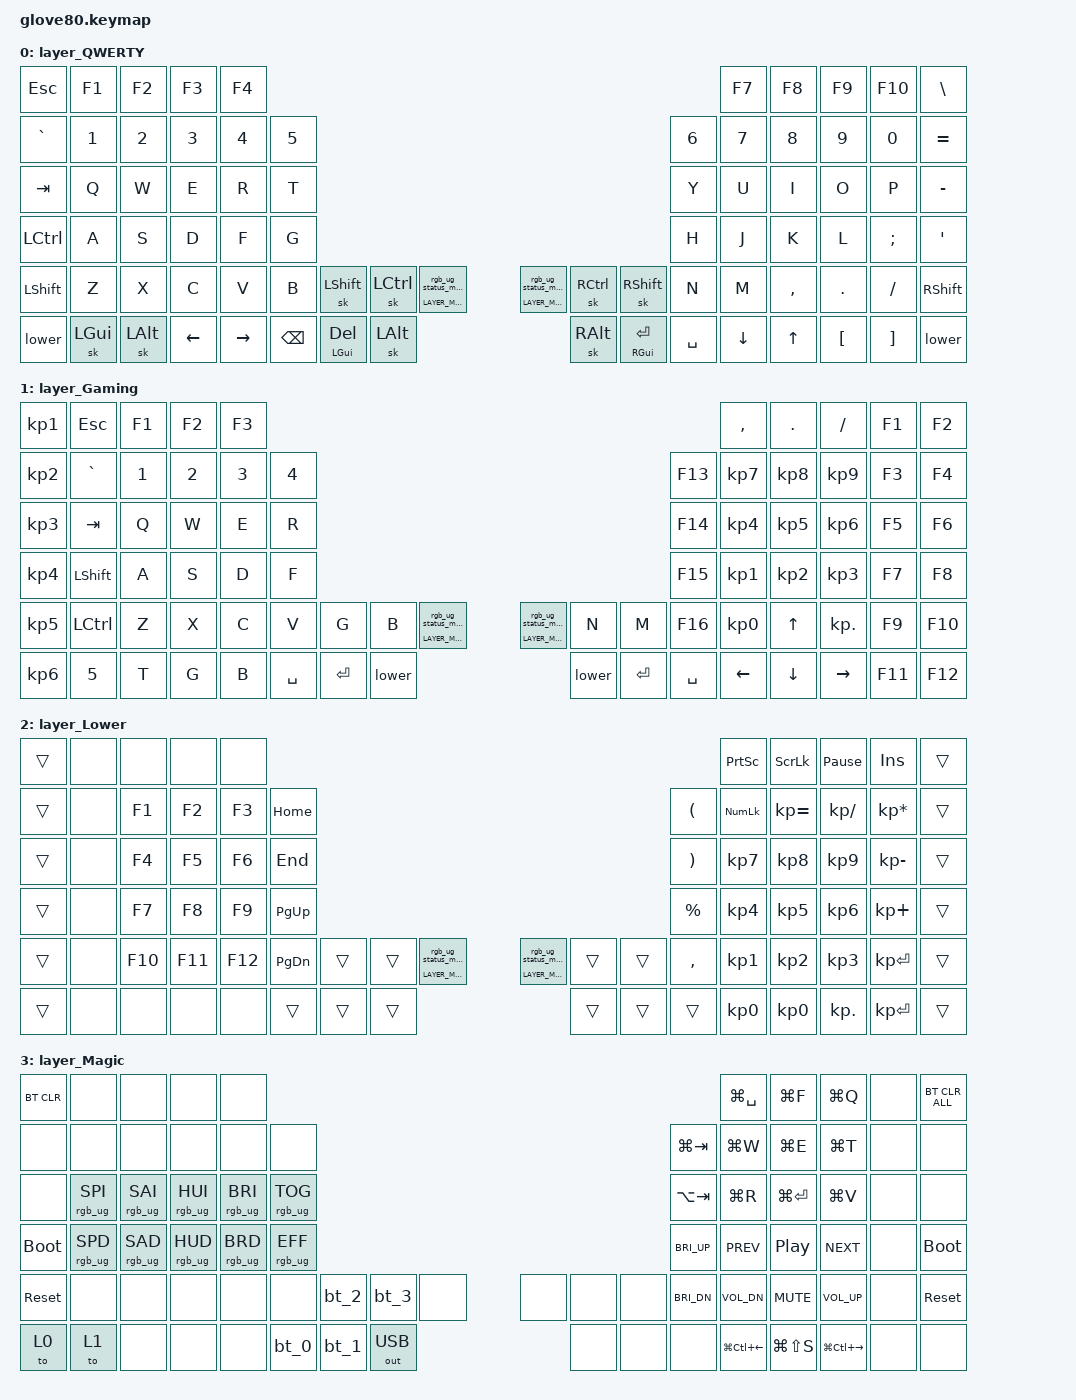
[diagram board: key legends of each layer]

/*
 * Copyright (c) 2020 The ZMK Contributors
 * Copyright (c) 2023 Innaworks Development Limited, trading as MoErgo
 *
 * SPDX-License-Identifier: MIT
 */


/* THIS FILE WAS GENERATED BY GLOVE80 LAYOUT EDITOR
 *
 * This file was generated automatically. You may or may not want to
 * edit it directly.
 */

#include <behaviors.dtsi>
/* Include all behaviour includes needed */
#include <dt-bindings/zmk/outputs.h>
#include <dt-bindings/zmk/keys.h>
#include <dt-bindings/zmk/bt.h>
#include <dt-bindings/zmk/rgb.h>

/* Automatically generated layer name #define */
#define LAYER_QWERTY 0
#define LAYER_Gaming 1
#define LAYER_Lower 2
#define LAYER_Magic 3

/* To deal with the situation where there is no Lower layer, to keep &lower happy */
#ifndef LAYER_Lower
#define LAYER_Lower 0
#endif

/* Custom Device-tree */



/* Glove80 system behavior & macros */
/ {
    behaviors {
        // For the "layer" key, it'd nice to be able to use it as either a shift or a toggle.
        // Configure it as a tap dance, so the first tap (or hold) is a &mo and the second tap is a &to
        lower: lower {
            compatible = "zmk,behavior-tap-dance";
            label = "LAYER_TAP_DANCE";
            #binding-cells = <0>;
            tapping-term-ms = <200>;
            bindings = <&mo LAYER_Lower>, <&to LAYER_Lower>;
        };
    };
};

/ {
    macros {
        rgb_ug_status_macro: rgb_ug_status_macro {
            label = "RGB_UG_STATUS";
            compatible = "zmk,behavior-macro";
            #binding-cells = <0>;
            bindings
                = <&rgb_ug RGB_STATUS>;
        };
    };
};


/ {
#ifdef BT_DISC_CMD
    behaviors {
        bt_0: bt_0 {
            compatible = "zmk,behavior-tap-dance";
            label = "BT_0";
            #binding-cells = <0>;
            tapping-term-ms = <200>;
            bindings = <&bt_select_0>, <&bt BT_DISC 0>;
        };
        bt_1: bt_1 {
            compatible = "zmk,behavior-tap-dance";
            label = "BT_1";
            #binding-cells = <0>;
            tapping-term-ms = <200>;
            bindings = <&bt_select_1>, <&bt BT_DISC 1>;
        };
        bt_2: bt_2 {
            compatible = "zmk,behavior-tap-dance";
            label = "BT_2";
            #binding-cells = <0>;
            tapping-term-ms = <200>;
            bindings = <&bt_select_2>, <&bt BT_DISC 2>;
        };
        bt_3: bt_3 {
            compatible = "zmk,behavior-tap-dance";
            label = "BT_3";
            #binding-cells = <0>;
            tapping-term-ms = <200>;
            bindings = <&bt_select_3>, <&bt BT_DISC 3>;
        };
    };
    macros {
        bt_select_0: bt_select_0 {
            label = "BT_SELECT_0";
            compatible = "zmk,behavior-macro";
            #binding-cells = <0>;
            bindings
                = <&out OUT_BLE>,
                  <&bt BT_SEL 0>;
        };
        bt_select_1: bt_select_1 {
            label = "BT_SELECT_1";
            compatible = "zmk,behavior-macro";
            #binding-cells = <0>;
            bindings
                = <&out OUT_BLE>,
                  <&bt BT_SEL 1>;
        };
        bt_select_2: bt_select_2 {
            label = "BT_SELECT_2";
            compatible = "zmk,behavior-macro";
            #binding-cells = <0>;
            bindings
                = <&out OUT_BLE>,
                  <&bt BT_SEL 2>;
        };
        bt_select_3: bt_select_3 {
            label = "BT_SELECT_3";
            compatible = "zmk,behavior-macro";
            #binding-cells = <0>;
            bindings
                = <&out OUT_BLE>,
                  <&bt BT_SEL 3>;
        };
    };
#else
    macros {
        bt_0: bt_0 {
            label = "BT_0";
            compatible = "zmk,behavior-macro";
            #binding-cells = <0>;
            bindings
                = <&out OUT_BLE>,
                  <&bt BT_SEL 0>;
        };
        bt_1: bt_1 {
            label = "BT_1";
            compatible = "zmk,behavior-macro";
            #binding-cells = <0>;
            bindings
                = <&out OUT_BLE>,
                  <&bt BT_SEL 1>;
        };
        bt_2: bt_2 {
            label = "BT_2";
            compatible = "zmk,behavior-macro";
            #binding-cells = <0>;
            bindings
                = <&out OUT_BLE>,
                  <&bt BT_SEL 2>;
        };
        bt_3: bt_3 {
            label = "BT_3";
            compatible = "zmk,behavior-macro";
            #binding-cells = <0>;
            bindings
                = <&out OUT_BLE>,
                  <&bt BT_SEL 3>;
        };
    };
#endif
};

/ {
    behaviors {
        magic: magic {
            compatible = "zmk,behavior-hold-tap";
            label = "MAGIC_HOLD_TAP";
            #binding-cells = <2>;
            flavor = "tap-preferred";
            tapping-term-ms = <200>;
            bindings = <&mo>, <&rgb_ug_status_macro>;
        };
    };
};

/* #define for key positions */
#define POS_LH_T1 52
#define POS_LH_T2 53
#define POS_LH_T3 54
#define POS_LH_T4 69
#define POS_LH_T5 70
#define POS_LH_T6 71
#define POS_LH_C1R2 15
#define POS_LH_C1R3 27
#define POS_LH_C1R4 39
#define POS_LH_C1R5 51
#define POS_LH_C2R1 4
#define POS_LH_C2R2 14
#define POS_LH_C2R3 26
#define POS_LH_C2R4 38
#define POS_LH_C2R5 50
#define POS_LH_C2R6 68
#define POS_LH_C3R1 3
#define POS_LH_C3R2 13
#define POS_LH_C3R3 25
#define POS_LH_C3R4 37
#define POS_LH_C3R5 49
#define POS_LH_C3R6 67
#define POS_LH_C4R1 2
#define POS_LH_C4R2 12
#define POS_LH_C4R3 24
#define POS_LH_C4R4 36
#define POS_LH_C4R5 48
#define POS_LH_C4R6 66
#define POS_LH_C5R1 1
#define POS_LH_C5R2 11
#define POS_LH_C5R3 23
#define POS_LH_C5R4 35
#define POS_LH_C5R5 47
#define POS_LH_C5R6 65
#define POS_LH_C6R1 0
#define POS_LH_C6R2 10
#define POS_LH_C6R3 22
#define POS_LH_C6R4 34
#define POS_LH_C6R5 46
#define POS_LH_C6R6 64
#define POS_RH_T1 57
#define POS_RH_T2 56
#define POS_RH_T3 55
#define POS_RH_T4 74
#define POS_RH_T5 73
#define POS_RH_T6 72
#define POS_RH_C1R2 16
#define POS_RH_C1R3 28
#define POS_RH_C1R4 40
#define POS_RH_C1R5 58
#define POS_RH_C2R1 5
#define POS_RH_C2R2 17
#define POS_RH_C2R3 29
#define POS_RH_C2R4 41
#define POS_RH_C2R5 59
#define POS_RH_C2R6 75
#define POS_RH_C3R1 6
#define POS_RH_C3R2 18
#define POS_RH_C3R3 30
#define POS_RH_C3R4 42
#define POS_RH_C3R5 60
#define POS_RH_C3R6 76
#define POS_RH_C4R1 7
#define POS_RH_C4R2 19
#define POS_RH_C4R3 31
#define POS_RH_C4R4 43
#define POS_RH_C4R5 61
#define POS_RH_C4R6 77
#define POS_RH_C5R1 8
#define POS_RH_C5R2 20
#define POS_RH_C5R3 32
#define POS_RH_C5R4 44
#define POS_RH_C5R5 62
#define POS_RH_C5R6 78
#define POS_RH_C6R1 9
#define POS_RH_C6R2 21
#define POS_RH_C6R3 33
#define POS_RH_C6R4 45
#define POS_RH_C6R5 63
#define POS_RH_C6R6 79

    /* Custom Defined Behaviors */
/ {
    
};

    /* Automatically generated keymap */
/ {
    keymap {
        compatible = "zmk,keymap";


        layer_QWERTY {
            bindings = <
   &kp ESC    &kp F1    &kp F2    &kp F3     &kp F4                                                                                                                  &kp F7     &kp F8    &kp F9   &kp F10   &kp BSLH
 &kp GRAVE    &kp N1    &kp N2    &kp N3     &kp N4  &kp N5                                                                                                &kp N6    &kp N7     &kp N8    &kp N9    &kp N0  &kp EQUAL
   &kp TAB     &kp Q     &kp W     &kp E      &kp R   &kp T                                                                                                 &kp Y     &kp U      &kp I     &kp O     &kp P  &kp MINUS
 &kp LCTRL     &kp A     &kp S     &kp D      &kp F   &kp G                                                                                                 &kp H     &kp J      &kp K     &kp L  &kp SEMI    &kp SQT
 &kp LSHFT     &kp Z     &kp X     &kp C      &kp V   &kp B  &sk LSHFT     &sk LCTRL  &magic LAYER_Magic 0  &magic LAYER_Magic 0     &sk RCTRL  &sk RSHFT   &kp N     &kp M  &kp COMMA   &kp DOT  &kp FSLH  &kp RSHFT
    &lower  &sk LGUI  &sk LALT  &kp LEFT  &kp RIGHT           &kp BSPC  &mt LGUI DEL              &sk LALT              &sk RALT  &mt RGUI RET  &kp SPACE          &kp DOWN     &kp UP  &kp LBKT  &kp RBKT     &lower
            >;
        };

        layer_Gaming {
            bindings = <
 &kp KP_N1    &kp ESC  &kp F1  &kp F2  &kp F3                                                                                                       &kp COMMA    &kp DOT    &kp FSLH   &kp F1   &kp F2
 &kp KP_N2  &kp GRAVE  &kp N1  &kp N2  &kp N3  &kp N4                                                                                      &kp F13  &kp KP_N7  &kp KP_N8   &kp KP_N9   &kp F3   &kp F4
 &kp KP_N3    &kp TAB   &kp Q   &kp W   &kp E   &kp R                                                                                      &kp F14  &kp KP_N4  &kp KP_N5   &kp KP_N6   &kp F5   &kp F6
 &kp KP_N4  &kp LSHFT   &kp A   &kp S   &kp D   &kp F                                                                                      &kp F15  &kp KP_N1  &kp KP_N2   &kp KP_N3   &kp F7   &kp F8
 &kp KP_N5  &kp LCTRL   &kp Z   &kp X   &kp C   &kp V      &kp G    &kp B  &magic LAYER_Magic 0  &magic LAYER_Magic 0    &kp N      &kp M  &kp F16  &kp KP_N0     &kp UP  &kp KP_DOT   &kp F9  &kp F10
 &kp KP_N6     &kp N5   &kp T   &kp G   &kp B          &kp SPACE  &kp RET                &lower                &lower  &kp RET  &kp SPACE            &kp LEFT   &kp DOWN   &kp RIGHT  &kp F11  &kp F12
            >;
        };

        layer_Lower {
            bindings = <
 &trans   &none    &none    &none    &none                                                                                                                 &kp PSCRN      &kp SLCK  &kp PAUSE_BREAK          &kp INS  &trans
 &trans   &none   &kp F1   &kp F2   &kp F3   &kp HOME                                                                               &kp LEFT_PARENTHESIS  &kp KP_NUM  &kp KP_EQUAL     &kp KP_SLASH  &kp KP_MULTIPLY  &trans
 &trans   &none   &kp F4   &kp F5   &kp F6    &kp END                                                                              &kp RIGHT_PARENTHESIS   &kp KP_N7     &kp KP_N8        &kp KP_N9     &kp KP_MINUS  &trans
 &trans   &none   &kp F7   &kp F8   &kp F9  &kp PG_UP                                                                                        &kp PERCENT   &kp KP_N4     &kp KP_N5        &kp KP_N6      &kp KP_PLUS  &trans
 &trans   &none  &kp F10  &kp F11  &kp F12  &kp PG_DN  &trans  &trans  &magic LAYER_Magic 0  &magic LAYER_Magic 0  &trans  &trans              &kp COMMA   &kp KP_N1     &kp KP_N2        &kp KP_N3     &kp KP_ENTER  &trans
 &trans   &none    &none    &none    &none             &trans  &trans                &trans                &trans  &trans  &trans                          &kp KP_N0     &kp KP_N0       &kp KP_DOT     &kp KP_ENTER  &trans
            >;
        };

        layer_Magic {
            bindings = <
  &bt BT_CLR            &none            &none            &none            &none                                                                                          &kp LG(SPACE)      &kp LG(F)          &kp LG(Q)   &none  &bt BT_CLR_ALL
       &none            &none            &none            &none            &none            &none                                                         &kp LG(TAB)         &kp LG(W)      &kp LG(E)          &kp LG(T)   &none           &none
       &none  &rgb_ug RGB_SPI  &rgb_ug RGB_SAI  &rgb_ug RGB_HUI  &rgb_ug RGB_BRI  &rgb_ug RGB_TOG                                                         &kp LA(TAB)         &kp LG(R)    &kp LG(RET)          &kp LG(V)   &none           &none
 &bootloader  &rgb_ug RGB_SPD  &rgb_ug RGB_SAD  &rgb_ug RGB_HUD  &rgb_ug RGB_BRD  &rgb_ug RGB_EFF                                                        &kp C_BRI_UP        &kp C_PREV       &kp C_PP         &kp C_NEXT   &none     &bootloader
  &sys_reset            &none            &none            &none            &none            &none   &bt_2   &bt_3         &none   &none   &none   &none  &kp C_BRI_DN      &kp C_VOL_DN     &kp C_MUTE       &kp C_VOL_UP   &none      &sys_reset
       &to 0            &to 1            &none            &none            &none                    &bt_0   &bt_1  &out OUT_USB   &none   &none   &none                &kp LG(LC(LEFT))  &kp LG(LS(S))  &kp LG(LC(RIGHT))   &none           &none
            >;
        };

    };
};
